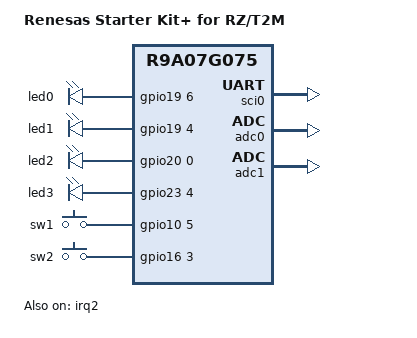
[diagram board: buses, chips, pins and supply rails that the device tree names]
/*
 * Copyright (c) 2023 Antmicro <www.antmicro.com>
 * Copyright (c) 2025 Renesas Electronics Corporation
 *
 * SPDX-License-Identifier: Apache-2.0
 */

/dts-v1/;
#include <zephyr/dt-bindings/input/input-event-codes.h>
#include <arm/renesas/rz/rzt/r9a07g075.dtsi>
#include "rzt2m_rsk-pinctrl.dtsi"

/ {
	model = "Renesas Starter Kit+ for RZ/T2M";
	compatible = "renesas,rzt2m-rsk";

	chosen {
		zephyr,sram = &cpu0_atcm;
		zephyr,flash = &xspi0_cs0;
		zephyr,code-partition = &slot0_partition;
		zephyr,console = &uart0;
		zephyr,shell-uart = &uart0;
	};

	aliases {
		led0 = &led0;
		sw0 = &sw1;
	};

	leds {
		compatible = "gpio-leds";

		led0: led0 {
			gpios = <&gpio19 6 0>;
			label = "led0";
		};

		led1: led1 {
			gpios = <&gpio19 4 0>;
			label = "led1";
		};

		led2: led2 {
			gpios = <&gpio20 0 0>;
			label = "led2";
		};

		led3: led3 {
			gpios = <&gpio23 4 0>;
			label = "led3";
		};
	};

	gpio_keys {
		compatible = "gpio-keys";

		sw1: sw1 {
			label = "sw1";
			gpios = <&gpio10 5 0>;
			zephyr,code = <INPUT_KEY_0>;
		};

		sw2: sw2 {
			label = "sw2";
			gpios = <&gpio16 3 0>;
			zephyr,code = <INPUT_KEY_1>;
		};
	};
};

&sci0 {
	pinctrl-0 = <&sci0_default>;
	pinctrl-names = "default";
	status = "okay";

	uart0: uart {
		current-speed = <115200>;
		status = "okay";
	};
};

&irq2 {
	trigger-type = "falling";
	pinctrl-0 = <&irq2_default>;
	pinctrl-names = "default";
	status = "okay";
};

&gpio10 {
	irqs = <5 2>;
	status = "okay";
};

&gpio16 {
	status = "okay";
};

&gpio19 {
	status = "okay";
};

&gpio20 {
	status = "okay";
};

&gpio23 {
	status = "okay";
};

&adc0 {
	status = "okay";
};

&adc1 {
	status = "okay";
};
